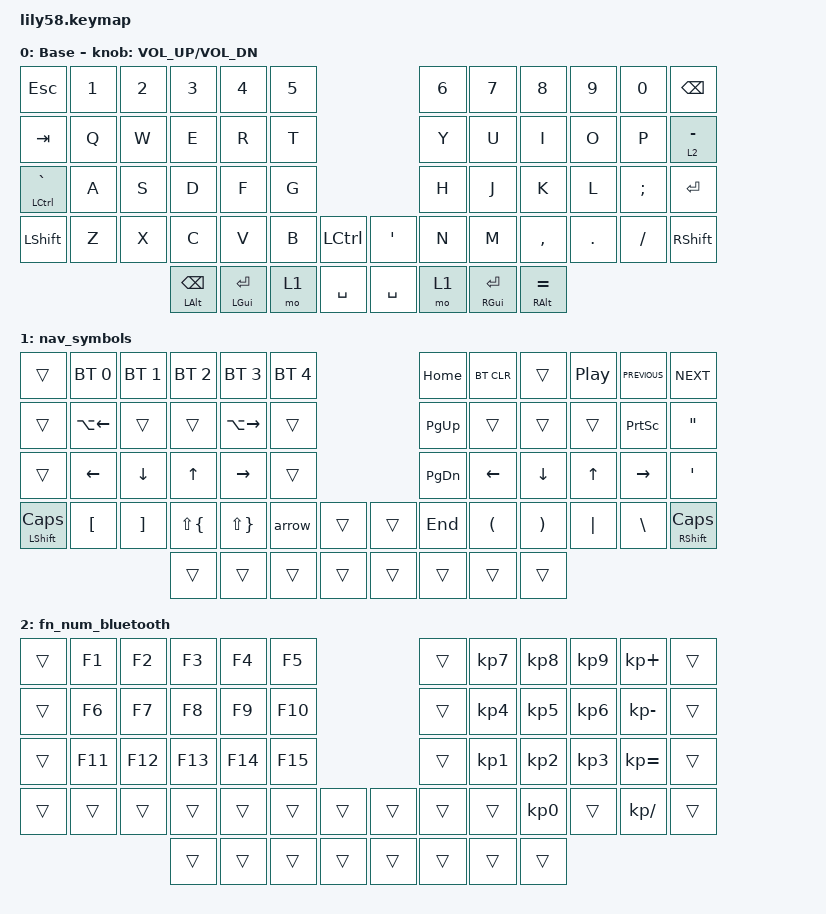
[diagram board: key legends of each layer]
/*
 * Copyright (c) 2020 The ZMK Contributors
 *
 * SPDX-License-Identifier: MIT
 */

#include <behaviors.dtsi>
#include <dt-bindings/zmk/bt.h>
#include <dt-bindings/zmk/keys.h>

/ {
    macros {
        arrow: arrow {
            compatible = "zmk,behavior-macro";
            #binding-cells = <0>;
            bindings = <&none &kp EQUAL &kp GT>;
            label = "ARROW";
        };
    };

    keymap {
        compatible = "zmk,keymap";

        default_layer {
            // ------------------------------------------------------------------------------------------------------------
            // |  ESC  |  1  |  2  |  3   |  4   |  5   |                   |  6   |  7    |  8    |  9   |   0   |   `   |
            // |  TAB  |  Q  |  W  |  E   |  R   |  T   |                   |  Y   |  U    |  I    |  O   |   P   |   -   |
            // |  CTRL |  A  |  S  |  D   |  F   |  G   |                   |  H   |  J    |  K    |  L   |   ;   |   '   |
            // | SHIFT |  Z  |  X  |  C   |  V   |  B   |   "["  |  |  "]"  |  N   |  M    |  ,    |  .   |   /   | SHIFT |
            //                     | ALT  | GUI  | LOWER|  SPACE |  | ENTER | RAISE| BSPC  | GUI   |

            display-name = "Base";
            bindings = <
&kp ESC          &kp N1  &kp N2  &kp N3                  &kp N4              &kp N5                                 &kp N6  &kp N7               &kp N8               &kp N9   &kp N0    &kp BACKSPACE
&kp TAB          &kp Q   &kp W   &kp E                   &kp R               &kp T                                  &kp Y   &kp U                &kp I                &kp O    &kp P     &lt 2 MINUS
&mt LCTRL GRAVE  &kp A   &kp S   &kp D                   &kp F               &kp G                                  &kp H   &kp J                &kp K                &kp L    &kp SEMI  &kp ENTER
&kp LSHFT        &kp Z   &kp X   &kp C                   &kp V               &kp B   &kp LCTRL    &kp SINGLE_QUOTE  &kp N   &kp M                &kp COMMA            &kp DOT  &kp FSLH  &kp RSHFT
                                 &mt LEFT_ALT BACKSPACE  &mt LEFT_GUI ENTER  &mo 1   &kp SPACE    &kp SPACE         &mo 1   &mt RIGHT_GUI ENTER  &mt RIGHT_ALT EQUAL
            >;

            sensor-bindings = <&inc_dec_kp C_VOL_UP C_VOL_DN>;
        };

        nav_symbols {
            bindings = <
&trans                   &bt BT_SEL 0  &bt BT_SEL 1  &bt BT_SEL 2  &bt BT_SEL 3   &bt BT_SEL 4                    &kp HOME       &bt BT_CLR            &trans                 &kp C_PLAY_PAUSE  &kp C_PREVIOUS   &kp C_NEXT
&trans                   &kp LA(LEFT)  &trans        &trans        &kp LA(RIGHT)  &trans                          &kp PAGE_UP    &trans                &trans                 &trans            &kp PRINTSCREEN  &kp DOUBLE_QUOTES
&trans                   &kp LEFT      &kp DOWN      &kp UP_ARROW  &kp RIGHT      &trans                          &kp PAGE_DOWN  &kp LEFT              &kp DOWN               &kp UP_ARROW      &kp RIGHT        &kp SINGLE_QUOTE
&mt LEFT_SHIFT CAPSLOCK  &kp LBKT      &kp RBKT      &kp LS(LBRC)  &kp LS(RBRC)   &arrow        &trans    &trans  &kp END        &kp LEFT_PARENTHESIS  &kp RIGHT_PARENTHESIS  &kp PIPE          &kp BACKSLASH    &mt RIGHT_SHIFT CAPSLOCK
                                                     &trans        &trans         &trans        &trans    &trans  &trans         &trans                &trans
            >;
        };

        fn_num_bluetooth {
            bindings = <
&trans  &kp F1   &kp F2   &kp F3   &kp F4   &kp F5                     &trans  &kp KP_NUMBER_7  &kp KP_NUMBER_8  &kp KP_NUMBER_9  &kp KP_PLUS   &trans
&trans  &kp F6   &kp F7   &kp F8   &kp F9   &kp F10                    &trans  &kp KP_NUMBER_4  &kp KP_NUMBER_5  &kp KP_NUMBER_6  &kp KP_MINUS  &trans
&trans  &kp F11  &kp F12  &kp F13  &kp F14  &kp F15                    &trans  &kp KP_NUMBER_1  &kp KP_NUMBER_2  &kp KP_NUMBER_3  &kp KP_EQUAL  &trans
&trans  &trans   &trans   &trans   &trans   &trans   &trans    &trans  &trans  &trans           &kp KP_NUMBER_0  &trans           &kp KP_SLASH  &trans
                          &trans   &trans   &trans   &trans    &trans  &trans  &trans           &trans
            >;
        };
    };
};
